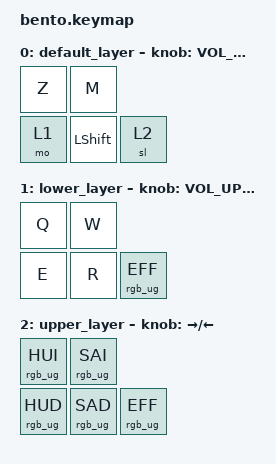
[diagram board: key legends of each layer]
#include <behaviors.dtsi>
#include <dt-bindings/zmk/bt.h>
#include <dt-bindings/zmk/keys.h>
#include <dt-bindings/zmk/rgb.h>

&led_strip {
    chain-length = <4>;
};

/ {
    chosen {
        zmk,physical-layout = &macro3x2_layount;
    };
};

/ {
    keymap {
        compatible = "zmk,keymap";
        default_layer {
            bindings = <
                &kp Z    &kp M       &kp C_MUTE
                &mo 1    &kp LSHIFT  &sl 2
            >;
            sensor-bindings = <&inc_dec_kp C_VOL_UP C_VOL_DN>;
        };
        lower_layer {
            bindings = <
                &kp Q    &kp W  &kp C_MUTE
                &kp E    &kp R  &rgb_ug RGB_EFF
            >;
            sensor-bindings = <&inc_dec_kp  C_VOL_UP C_VOL_DN>;
        };
        upper_layer {
            bindings = <
                &rgb_ug RGB_HUI    &rgb_ug RGB_SAI  &rgb_ug RGB_TOG
                &rgb_ug RGB_HUD    &rgb_ug RGB_SAD  &rgb_ug RGB_EFF
            >;
            sensor-bindings = <&inc_dec_kp RIGHT LEFT>;
        };
    };
};
